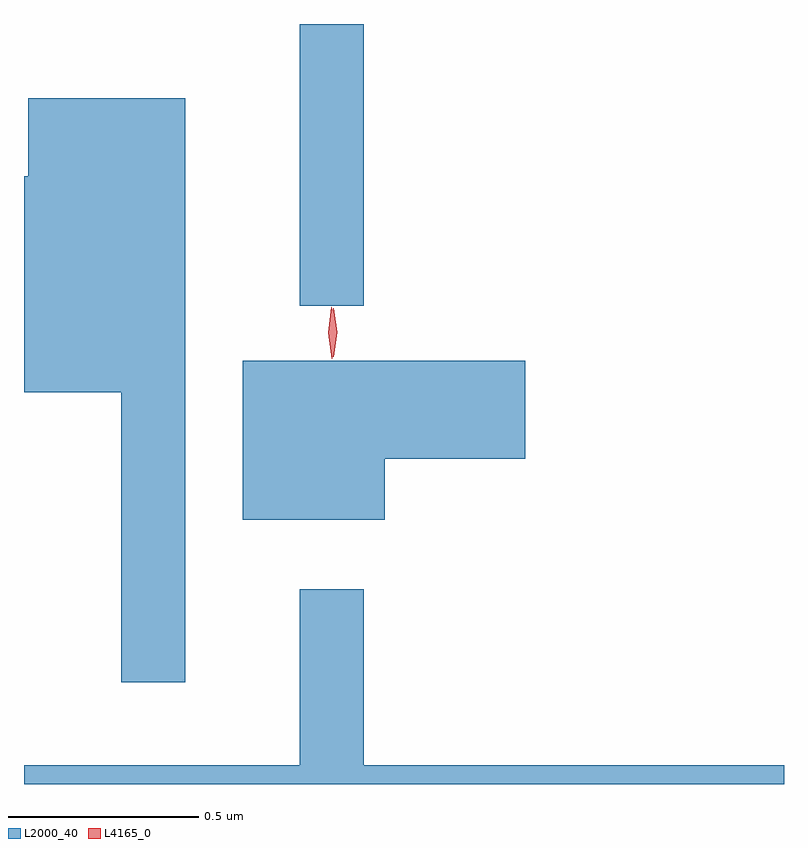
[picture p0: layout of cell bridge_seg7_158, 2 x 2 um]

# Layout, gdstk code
import gdstk
lib = gdstk.Library(unit=1e-6, precision=1e-09)
def R(c, l, rs):  # rectangles x0, y0, x1, y1
    for r in rs: c.add(gdstk.rectangle(r[:2], r[2:], *l))
def P(c, l, *ps):  # polygons
    for p in ps: c.add(gdstk.Polygon(p, *l))
L2000_40 = (2000, 40)
L4165_0 = (4165, 0)

bridge_seg7_158 = lib.new_cell('bridge_seg7_158')
R(bridge_seg7_158, L2000_40, [(1633.111,1700.253,1633.279,1700.995)])
P(bridge_seg7_158, L2000_40, [(1632.809,1700.799),(1632.396,1700.799),(1632.396,1700.594),(1632.385,1700.594),(1632.385,1700.026),(1632.641,1700.026),(1632.641,1699.263),(1632.809,1699.263)],
  [(1633.334,1699.851),(1633.704,1699.851),(1633.704,1700.109),(1632.961,1700.109),(1632.961,1699.691),(1633.334,1699.691)],
  [(1634.385,1699.044),(1633.279,1699.044),(1633.279,1699.508),(1633.111,1699.508),(1633.111,1699.044),(1632.385,1699.044),(1632.385,1698.995),(1634.385,1698.995)])
P(bridge_seg7_158, L4165_0, [(1633.195,1700.114),(1633.185,1700.182),(1633.194,1700.25),(1633.195,1700.25),(1633.195,1700.25),(1633.205,1700.182),(1633.196,1700.114),(1633.196,1700.114)],
  [(1633.199,1700.12),(1633.199,1700.12),(1633.189,1700.184),(1633.199,1700.247),(1633.199,1700.247),(1633.2,1700.247),(1633.209,1700.184),(1633.2,1700.12)])

lib.write_gds('bridge_seg7_158.gds')
